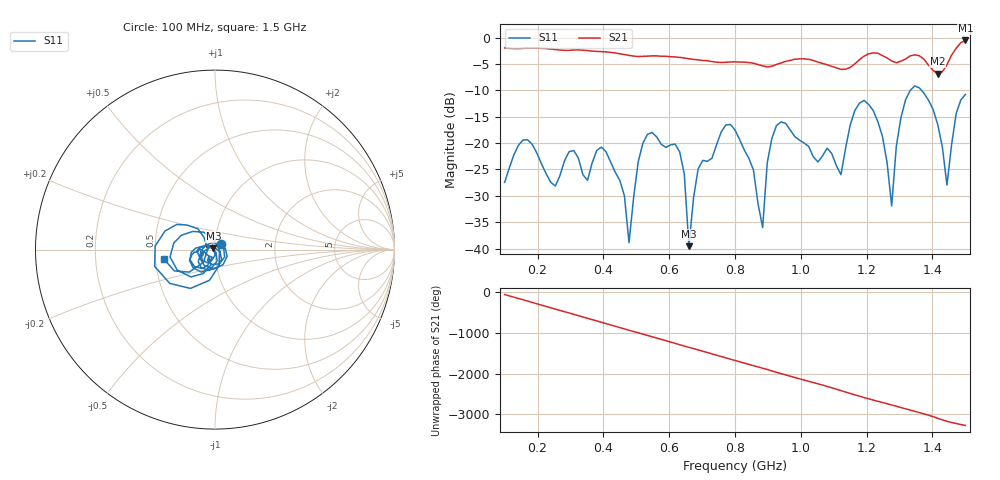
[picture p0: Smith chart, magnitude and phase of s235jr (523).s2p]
! NanoVNA-App
! Date: 2025-09-25 15:08:14
! Start: 100MHz Stop: 1,5GHz Points: 101
! S-Parameter data: F S11 S21 S12 S22
# Hz S RI R 50
!  Frequency  S11_Real  S11_Imag  S21_Real  S21_Imag  S12_Real  S12_Imag  S22_Real  S22_Imag
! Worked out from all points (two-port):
!   101 points, 100 MHz to 1.5 GHz, reference 50 ohm
!   highest |S21| = -0.54 dB at 1.5 GHz (marker M1); lowest = -6.9 dB at 1.416 GHz (marker M2)
!   |S21| within 3 dB of the highest: start of sweep to 498.2 MHz; 523.8 MHz to 590.2 MHz (66.37 MHz wide, 11.9 % of centre) (the widest 2 of 5)
!   lowest |S11| = -39.5 dB at 660 MHz (marker M3), VSWR 1.02, Z = 49.2 + j0.616 ohm
!   |S11| at or under -10 dB: start of sweep to 1.333 GHz; 1.367 GHz to end of sweep
!   S12 and S22 are empty: the file has one direction only
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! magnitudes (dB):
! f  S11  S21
! 100 MHz  -27.5  -2.0
! 156 MHz  -19.4  -2.0
! 338 MHz  -26.0  -2.4
! 408 MHz  -21.6  -2.7
! 478 MHz  -38.9  -3.4
! 520 MHz  -20.0  -3.6
! 576 MHz  -20.2  -3.5
! 632 MHz  -21.7  -3.7
! 660 MHz  -39.5  -4.0
! 688 MHz  -24.9  -4.2
! 800 MHz  -17.5  -4.6
! 884 MHz  -36.0  -5.4
! 926 MHz  -16.7  -5.1
! 1.038 GHz  -22.6  -4.3
! 1.122 GHz  -26.0  -6.0
! 1.192 GHz  -11.9  -3.5
! 1.248 GHz  -18.7  -3.4
! 1.276 GHz  -31.9  -4.4
! 1.332 GHz  -10.0  -3.5
! 1.416 GHz  -16.5  -6.9
! 1.444 GHz  -28.0  -5.2
! 1.5 GHz  -10.8  -0.5
